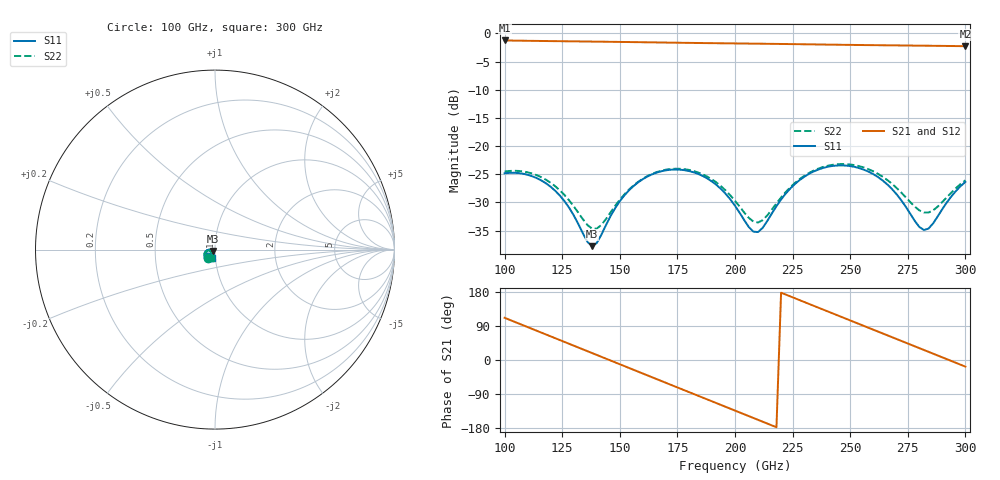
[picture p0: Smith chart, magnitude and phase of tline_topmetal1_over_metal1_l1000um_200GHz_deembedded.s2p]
! Created with skrf 2.2.0 (http://scikit-rf.org).
# GHz S DB R 50.0
! Port[1] = P1
! Port[2] = P2
!freq dBS11 angS11 dBS21 angS21 dBS12 angS12 dBS22 angS22
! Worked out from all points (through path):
!   101 points, 100 GHz to 300 GHz, reference 50 ohm
!   highest |S21| = -1.25 dB at 100 GHz (marker M1); lowest = -2.3 dB at 300 GHz (marker M2)
!   group delay of S21, straight-line fit = 6.79 ps
!   lowest |S11| = -37.8 dB at 138 GHz (marker M3), VSWR 1.03, Z = 49 - j0.76 ohm
!   |S11| at or under -10 dB: start of sweep to end of sweep
!   |S22| runs from -34.7 to -23.2 dB; largest |S21 - S12| = 9.8e-14
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100  -24.83 -133.6  -1.25 111.4  -1.25 111.4  -24.52 -130.6
108  -24.90 -150.4  -1.29 91.8  -1.29 91.8  -24.50 -146.5
116  -26.11 -166.2  -1.34 72.2  -1.34 72.2  -25.54 -161.1
126  -29.78 179.4  -1.39 47.7  -1.39 47.7  -28.69 -173.5
134  -35.51 -171.9  -1.43 28.0  -1.43 28.0  -33.00 -166.2
138  -37.77 -143.1  -1.44 18.2  -1.44 18.2  -34.66 -147.8
142  -35.73 -112.8  -1.46 8.4  -1.46 8.4  -34.00 -125.3
152  -28.74 -103.8  -1.52 -16.1  -1.52 -16.1  -28.56 -109.8
168  -24.47 -129.9  -1.61 -55.3  -1.61 -55.3  -24.37 -130.8
176  -24.18 -145.2  -1.65 -74.9  -1.65 -74.9  -24.03 -144.7
184  -24.94 -159.9  -1.70 -94.4  -1.70 -94.4  -24.69 -158.0
200  -30.59 -176.2  -1.77 -133.5  -1.77 -133.5  -29.71 -171.7
206  -34.37 -161.2  -1.80 -148.1  -1.80 -148.1  -32.74 -158.7
210  -35.26 -135.5  -1.82 -157.9  -1.82 -157.9  -33.56 -138.9
222  -28.44 -106.1  -1.88 172.7  -1.88 172.7  -28.16 -109.7
234  -24.53 -121.1  -1.95 143.4  -1.95 143.4  -24.38 -121.5
244  -23.45 -138.8  -2.00 119.0  -2.00 119.0  -23.24 -137.2
252  -23.70 -153.2  -2.04 99.6  -2.04 99.6  -23.39 -150.2
268  -27.56 -176.1  -2.11 60.6  -2.11 60.6  -26.65 -169.4
282  -34.90 -144.3  -2.17 26.4  -2.17 26.4  -31.79 -146.9
292  -29.97 -106.2  -2.22 2.0  -2.22 2.0  -29.06 -117.1
300  -26.36 -110.1  -2.26 -17.5  -2.26 -17.5  -26.06 -117.1
